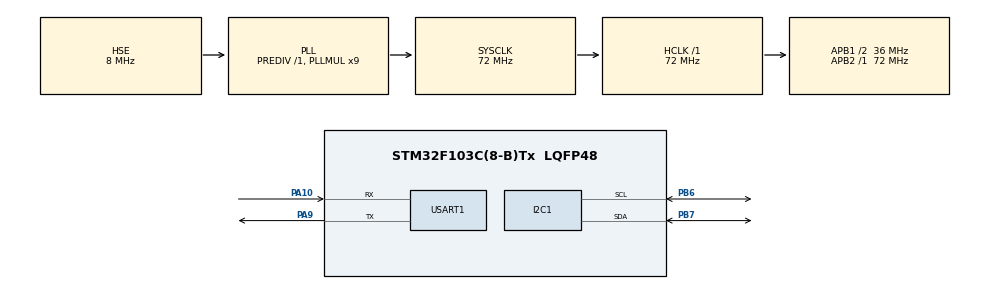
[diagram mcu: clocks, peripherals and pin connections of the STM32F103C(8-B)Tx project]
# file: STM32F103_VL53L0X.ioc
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I2C1.I2C_Mode=I2C_Fast
Mcu.Family=STM32F1
Mcu.Name=STM32F103C(8-B)Tx
Mcu.Package=LQFP48
NVIC.PriorityGroup=NVIC_PRIORITYGROUP_4
PA10.Mode=Asynchronous
PA10.Signal=USART1_RX
PA13.Mode=Serial_Wire
PA13.Signal=SYS_JTMS-SWDIO
PA14.Mode=Serial_Wire
PA14.Signal=SYS_JTCK-SWCLK
PA9.Mode=Asynchronous
PA9.Signal=USART1_TX
PB6.Mode=I2C
PB6.Signal=I2C1_SCL
PB7.Mode=I2C
PB7.Signal=I2C1_SDA
PD0-OSC_IN.Mode=HSE-External-Oscillator
PD0-OSC_IN.Signal=RCC_OSC_IN
PD1-OSC_OUT.Mode=HSE-External-Oscillator
PD1-OSC_OUT.Signal=RCC_OSC_OUT
ProjectManager.HeapSize=0x200
ProjectManager.StackSize=0x400
ProjectManager.TargetToolchain=STM32CubeIDE
RCC.AHBFreq_Value=72000000
RCC.APB1CLKDivider=RCC_HCLK_DIV2
RCC.APB1Freq_Value=36000000
RCC.APB1TimFreq_Value=72000000
RCC.APB2Freq_Value=72000000
RCC.APB2TimFreq_Value=72000000
RCC.HCLKFreq_Value=72000000
RCC.PLLMUL=RCC_PLL_MUL9
RCC.PLLSourceVirtual=RCC_PLLSOURCE_HSE
RCC.SYSCLKFreq_VALUE=72000000
RCC.SYSCLKSource=RCC_SYSCLKSOURCE_PLLCLK
RCC.USBFreq_Value=72000000
USART1.VirtualMode=VM_ASYNC
board=custom

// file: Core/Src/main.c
/* USER CODE BEGIN Header */
/**
  ******************************************************************************
  * @file           : main.c
  * @brief          : Main program body
  ******************************************************************************
  * @attention
  *
  * Copyright (c) 2026 STMicroelectronics.
  * All rights reserved.
  *
  * This software is licensed under terms that can be found in the LICENSE file
  * in the root directory of this software component.
  * If no LICENSE file comes with this software, it is provided AS-IS.
  *
  ******************************************************************************
  */
/* USER CODE END Header */
#include "main.h"

/* USER CODE BEGIN Includes */
#include <stdio.h>
#include <string.h>
#include "VL53L0X.h"
/* USER CODE END Includes */

I2C_HandleTypeDef hi2c1;

UART_HandleTypeDef huart1;

/* USER CODE BEGIN PV */
typedef enum {
    TOF_STATE_IDLE,
    TOF_STATE_WAIT_DATA
} ToF_State_t;

ToF_State_t tof_state = TOF_STATE_IDLE;
uint32_t tof_cycle_timer = 0;
uint32_t tof_timeout_timer = 0;
uint16_t tof_distance = 0;
char uart_buf[80];
/* USER CODE END PV */

void SystemClock_Config(void);
static void MX_GPIO_Init(void);
static void MX_I2C1_Init(void);
static void MX_USART1_UART_Init(void);

int main(void)
{

  /* MCU Configuration--------------------------------------------------------*/

  /* Reset of all peripherals, Initializes the Flash interface and the Systick. */
  HAL_Init();

  /* Configure the system clock */
  SystemClock_Config();

  /* Initialize all configured peripherals */
  MX_GPIO_Init();
  MX_I2C1_Init();
  MX_USART1_UART_Init();
  /* USER CODE BEGIN 2 */
  // 1. Базова ініціалізація внутрішніх адрес
  if (initVL53L0X(1, &hi2c1) == 1) { // Передаємо 1 для активації 2V8 режиму I/O живлення
	  sprintf(uart_buf, "Залізо VL53L0X ініціалізовано!\r\n");
  } else {
	  sprintf(uart_buf, "Помилка ToF ініціалізації!\r\n");
  }
  HAL_UART_Transmit(&huart1, (uint8_t*)uart_buf, strlen(uart_buf), 100);

  //КОНФІГУРАЦІЯ РОЗГОНУ (High Speed & Long Range)
  // 1. Знижуємо поріг повернення сигналу (Signal Rate Limit) з 0.25 MCPS до 0.1 MCPS.
  // Це підвищує чутливість датчика до слабких відблисків від дальніх стін (до 2 метрів).
  setSignalRateLimit(100);

  // 2. Збільшуємо періоди імпульсів лазера (VCSEL Pulse Period).
  // Довші імпульси необхідні для стабільної роботи на великих відстанях (Long Range профиль ST).
  setVcselPulsePeriod(VcselPeriodPreRange, 18);  // було 10
  setVcselPulsePeriod(VcselPeriodFinalRange, 14); // було 14

  // 3. Зменшуємо таймінг-бюджет вимірювання з 300 мс до 30 мс!
  // Тепер чип буде робити одиночний замір всього за ~30 мілісекунд.
  setMeasurementTimingBudget(30000UL);

  /* USER CODE END 2 */

  /* Infinite loop */
  /* USER CODE BEGIN WHILE */
  while (1)
  {
    // === АСИНХРОННИЙ СКІНЧЕННИЙ АВТОМАТ ДАЛЕКОМІРА ===
    switch (tof_state)
    {
        case TOF_STATE_IDLE:
            // Запускаємо новий замір кожні 50 мс
            if (HAL_GetTick() - tof_cycle_timer >= 50) {
                tof_cycle_timer = HAL_GetTick();

                VL53L0X_AsynchStartSingleMeasurement(); // Миттєвий старт
                tof_timeout_timer = HAL_GetTick();            // Фіксуємо час старту для таймауту
                tof_state = TOF_STATE_WAIT_DATA;
            }
            break;

        case TOF_STATE_WAIT_DATA:
            // 1. Опитуємо датчик без блокування ядра
            if (VL53L0X_AsynchCheckDataReady())
            {
                // Дані готові! Зчитуємо результат
                tof_distance = VL53L0X_AsynchReadDistanceResult();

                if (tof_distance < 2000 && tof_distance > 10) {
                    sprintf(uart_buf, "ToF (Асинхронний): %d мм\r\n", tof_distance);
                } else {
                    sprintf(uart_buf, "ToF (Асинхронний): Вперед вільно (>2м) %d мм\r\n", tof_distance);
                }
                HAL_UART_Transmit(&huart1, (uint8_t*)uart_buf, strlen(uart_buf), 10);

                tof_state = TOF_STATE_IDLE; // Повертаємо в очікування наступного такту
            }
            // 2. ЗАХИСТ: Перевірка на апаратний таймаут (якщо датчик завис або відключився)
            else if (HAL_GetTick() - tof_timeout_timer >= 100)
            {
            	sprintf(uart_buf, "ToF -> Помилка: Таймаут датчика!\r\n");
            	HAL_UART_Transmit(&huart1, (uint8_t*)uart_buf, strlen(uart_buf), 100);
                // Примусово очищаємо прапорці переривань, щоб спробувати оживити датчик
                HAL_I2C_Mem_Write(&hi2c1, (0x29<<1), 0x0B, I2C_MEMADD_SIZE_8BIT, (uint8_t[]){0x01}, 1, 10);

                tof_state = TOF_STATE_IDLE; // Скидаємо автомат, щоб не заклинило прошивку
            }
            break;
    }

    // === ТУТ ПАРАЛЕЛЬНО МОЖНА КРУТИТИ БУДЬ-ЯКІ ІНШІ ЗАВДАННЯ ===
    // Основний цикл тепер абсолютно вільний від затримок!

    /* USER CODE END WHILE */

  }
}

void SystemClock_Config(void)
{
  RCC_OscInitTypeDef RCC_OscInitStruct = {0};
  RCC_ClkInitTypeDef RCC_ClkInitStruct = {0};

  /** Initializes the RCC Oscillators according to the specified parameters
  * in the RCC_OscInitTypeDef structure.
  */
  RCC_OscInitStruct.OscillatorType = RCC_OSCILLATORTYPE_HSE;
  RCC_OscInitStruct.HSEState = RCC_HSE_ON;
  RCC_OscInitStruct.HSEPredivValue = RCC_HSE_PREDIV_DIV1;
  RCC_OscInitStruct.HSIState = RCC_HSI_ON;
  RCC_OscInitStruct.PLL.PLLState = RCC_PLL_ON;
  RCC_OscInitStruct.PLL.PLLSource = RCC_PLLSOURCE_HSE;
  RCC_OscInitStruct.PLL.PLLMUL = RCC_PLL_MUL9;
  if (HAL_RCC_OscConfig(&RCC_OscInitStruct) != HAL_OK)
  {
    Error_Handler();
  }

  /** Initializes the CPU, AHB and APB buses clocks
  */
  RCC_ClkInitStruct.ClockType = RCC_CLOCKTYPE_HCLK|RCC_CLOCKTYPE_SYSCLK
                              |RCC_CLOCKTYPE_PCLK1|RCC_CLOCKTYPE_PCLK2;
  RCC_ClkInitStruct.SYSCLKSource = RCC_SYSCLKSOURCE_PLLCLK;
  RCC_ClkInitStruct.AHBCLKDivider = RCC_SYSCLK_DIV1;
  RCC_ClkInitStruct.APB1CLKDivider = RCC_HCLK_DIV2;
  RCC_ClkInitStruct.APB2CLKDivider = RCC_HCLK_DIV1;

  if (HAL_RCC_ClockConfig(&RCC_ClkInitStruct, FLASH_LATENCY_2) != HAL_OK)
  {
    Error_Handler();
  }
}

static void MX_I2C1_Init(void)
{

  hi2c1.Instance = I2C1;
  hi2c1.Init.ClockSpeed = 400000;
  hi2c1.Init.DutyCycle = I2C_DUTYCYCLE_2;
  hi2c1.Init.OwnAddress1 = 0;
  hi2c1.Init.AddressingMode = I2C_ADDRESSINGMODE_7BIT;
  hi2c1.Init.DualAddressMode = I2C_DUALADDRESS_DISABLE;
  hi2c1.Init.OwnAddress2 = 0;
  hi2c1.Init.GeneralCallMode = I2C_GENERALCALL_DISABLE;
  hi2c1.Init.NoStretchMode = I2C_NOSTRETCH_DISABLE;
  if (HAL_I2C_Init(&hi2c1) != HAL_OK)
  {
    Error_Handler();
  }

}

static void MX_USART1_UART_Init(void)
{

  huart1.Instance = USART1;
  huart1.Init.BaudRate = 115200;
  huart1.Init.WordLength = UART_WORDLENGTH_8B;
  huart1.Init.StopBits = UART_STOPBITS_1;
  huart1.Init.Parity = UART_PARITY_NONE;
  huart1.Init.Mode = UART_MODE_TX_RX;
  huart1.Init.HwFlowCtl = UART_HWCONTROL_NONE;
  huart1.Init.OverSampling = UART_OVERSAMPLING_16;
  if (HAL_UART_Init(&huart1) != HAL_OK)
  {
    Error_Handler();
  }

}

static void MX_GPIO_Init(void)
{

  /* GPIO Ports Clock Enable */
  __HAL_RCC_GPIOD_CLK_ENABLE();
  __HAL_RCC_GPIOA_CLK_ENABLE();
  __HAL_RCC_GPIOB_CLK_ENABLE();

}

void Error_Handler(void)
{
  __disable_irq();
  while (1)
  {
  }
}
